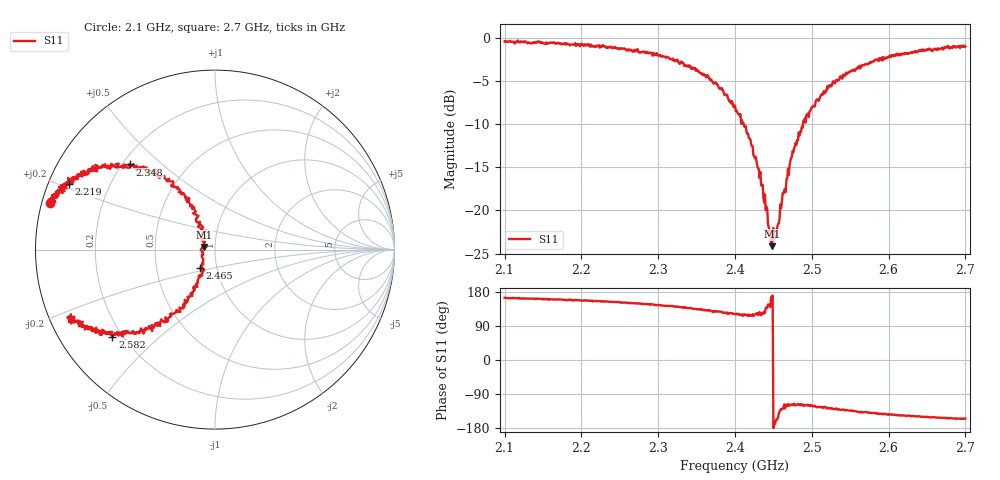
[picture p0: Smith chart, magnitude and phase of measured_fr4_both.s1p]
! Created with skrf 2.2.0 (http://scikit-rf.org).
# Hz S RI R 50.0
!freq ReS11 ImS11
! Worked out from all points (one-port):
!   601 points, 2.1 GHz to 2.7 GHz, reference 50 ohm
!   lowest |S11| = -24.1 dB at 2.448 GHz (marker M1), VSWR 1.13, Z = 44.3 + j1.28 ohm
!   |S11| at or under -10 dB: 2.411 GHz to 2.489 GHz (77.13 MHz wide, 3.15 % of centre)
!   S11 on the Smith chart (normalised r, x): 2.1 GHz: 0.02, +0.14; 2.219 GHz: 0.06, +0.21; 2.348 GHz: 0.23, +0.40; 2.465 GHz: 0.83, -0.18; 2.582 GHz: 0.16, -0.36; 2.7 GHz: 0.06, -0.23
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2.1e9  -0.9192 0.2619
2.145e9  -0.9062 0.3017
2.175e9  -0.867 0.3256
2.219e9  -0.8141 0.3649
2.25e9  -0.764 0.4098
2.288e9  -0.692 0.4468
2.325e9  -0.5778 0.4779
2.348e9  -0.4739 0.4745
2.376e9  -0.3371 0.4225
2.4e9  -0.2084 0.3493
2.417e9  -0.1394 0.2421
2.43e9  -0.0832 0.1549
2.439e9  -0.0694 0.1027
2.445e9  -0.0606 0.0415
2.448e9  -0.0604 0.0144
2.45e9  -0.0791 -0.000334
2.455e9  -0.0736 -0.0312
2.462e9  -0.0797 -0.0975
2.465e9  -0.0821 -0.1047
2.475e9  -0.1011 -0.1967
2.492e9  -0.1557 -0.2834
2.504e9  -0.2072 -0.3434
2.525e9  -0.3163 -0.4172
2.55e9  -0.4371 -0.4629
2.582e9  -0.5717 -0.4842
2.625e9  -0.6821 -0.4541
2.675e9  -0.7838 -0.4044
2.7e9  -0.805 -0.3867
